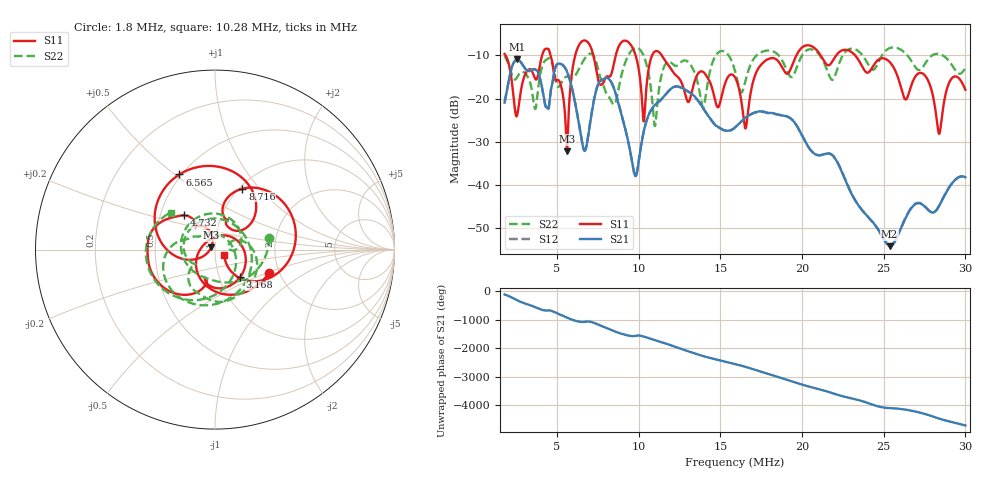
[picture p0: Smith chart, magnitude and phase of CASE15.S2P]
!Agilent Technologies,E5061B,MY49101568,A.02.00
!Date: Wed Mar 01 14:35:17 2023
!Data & Calibration Information:
!Freq	S11:SOLT2(OFF)	S21:SOLT2(OFF)	S12:SOLT2(OFF)	S22:SOLT2(OFF)
# Hz S dB R 50
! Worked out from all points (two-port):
!   1155 points, 1.8 MHz to 30 MHz, reference 50 ohm
!   highest |S21| = -10.95 dB at 2.582 MHz (marker M1); lowest = -54.1 dB at 25.36 MHz (marker M2)
!   |S21| within 3 dB of the highest: 2.158 MHz to 3.84 MHz (1.682 MHz wide, 56.1 % of centre); 4.828 MHz to 5.638 MHz (810.1 kHz wide, 15.5 % of centre)
!   lowest |S11| = -32.2 dB at 5.612 MHz (marker M3), VSWR 1.05, Z = 47.9 + j1.24 ohm
!   |S11| at or under -10 dB: 1.855 MHz to 4.095 MHz (2.241 MHz wide, 75.3 % of centre); 11.41 MHz to 19.66 MHz (8.244 MHz wide, 53.1 % of centre); 23.25 MHz to end of sweep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
!   |S22| runs from -26.4 to -8.2 dB; largest |S21 - S12| = 0.0037
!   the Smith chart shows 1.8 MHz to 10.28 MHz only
!   S11 on the Smith chart (normalised r, x): 1.8 MHz: 1.77, -0.51; 3.168 MHz: 1.25, -0.40; 4.732 MHz: 0.67, +0.27; 6.565 MHz: 0.49, +0.52; 8.716 MHz: 1.03, +0.82; 10.28 MHz: 1.11, -0.06
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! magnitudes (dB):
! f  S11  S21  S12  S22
! 1.8 MHz  -9.7  -20.9  -20.8  -10.2
! 2.582 MHz  -23.6  -10.9  -10.9  -15.0
! 3.168 MHz  -13.6  -13.5  -13.5  -14.7
! 4.732 MHz  -11.8  -16.3  -16.2  -11.9
! 5.612 MHz  -32.2  -13.7  -13.7  -14.9
! 6.516 MHz  -6.8  -29.6  -29.5  -11.9
! 6.565 MHz  -6.7  -30.6  -30.5  -11.6
! 7.64 MHz  -16.8  -15.9  -15.9  -14.9
! 8.716 MHz  -8.6  -20.4  -20.3  -18.8
! 9.766 MHz  -9.4  -37.6  -37.8  -8.3
! 10.28 MHz  -24.5  -28.2  -28.2  -9.8
! 11.21 MHz  -9.1  -20.8  -20.9  -19.0
! 13.02 MHz  -20.8  -18.3  -18.4  -11.5
! 13.95 MHz  -13.8  -22.2  -22.2  -22.1
! 15.9 MHz  -15.1  -26.7  -26.7  -13.6
! 16.54 MHz  -26.9  -24.4  -24.5  -16.0
! 17.49 MHz  -12.2  -22.9  -23.0  -9.3
! 20.62 MHz  -7.9  -32.3  -32.3  -8.6
! 25.31 MHz  -11.3  -54.0  -53.8  -8.4
! 25.36 MHz  -11.5  -54.1  -53.8  -8.3
! 28.39 MHz  -28.1  -44.8  -44.8  -9.7
! 30 MHz  -17.9  -38.2  -38.1  -12.9
